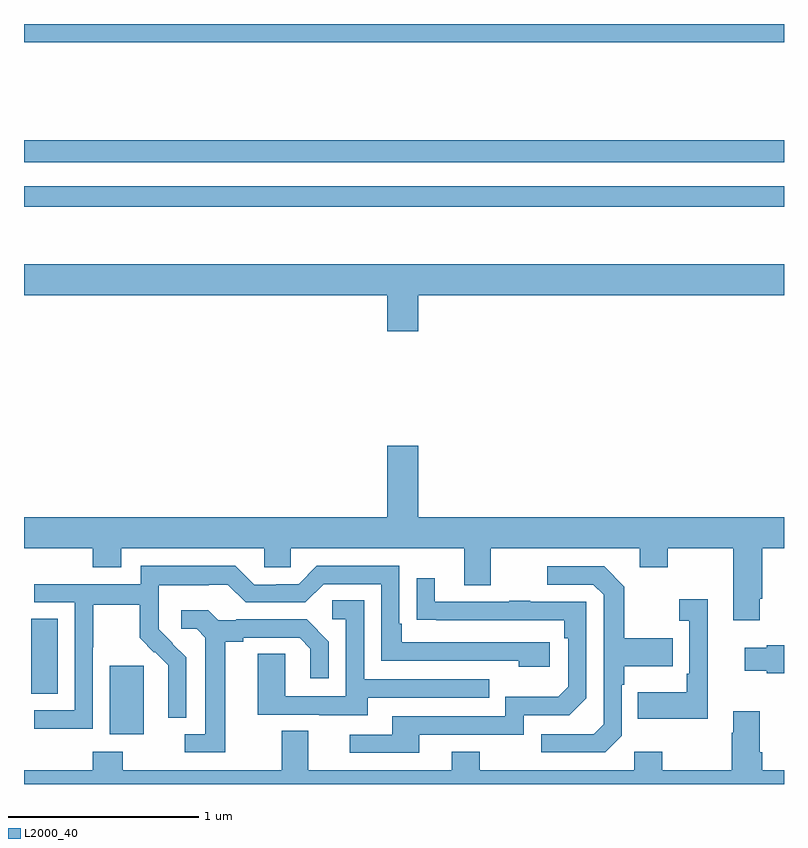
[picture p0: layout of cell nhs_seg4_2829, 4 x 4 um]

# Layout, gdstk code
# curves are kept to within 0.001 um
import gdstk
lib = gdstk.Library(unit=1e-6, precision=1e-09)
def R(c, l, rs):  # rectangles x0, y0, x1, y1
    for r in rs: c.add(gdstk.rectangle(r[:2], r[2:], *l))
def P(c, l, *ps):  # polygons
    for p in ps: c.add(gdstk.Polygon(p, *l))
L2000_40 = (2000, 40)

nhs_seg4_2829 = lib.new_cell('nhs_seg4_2829')
R(nhs_seg4_2829, L2000_40, [(259.451,809.162,259.63,809.523), (259.039,809.374,259.177,809.771), (259,811.938,263,812.046), (259,812.172,263,812.288), (259,812.804,263,812.9)])
P(nhs_seg4_2829, L2000_40, [(261.076,811.472),(263,811.472),(263,811.636),(259,811.636),(259,811.472),(260.912,811.472),(260.912,811.284),(261.076,811.284)],
  [(262.873,809.875),(262.886,809.875),(262.886,810.14),(263,810.14),(263,810.304),(261.076,810.304),(261.076,810.679),(260.912,810.679),(260.912,810.304),(259,810.304),(259,810.14),(259.361,810.14),(259.361,810.041),(259.513,810.041),(259.513,810.14),(260.265,810.14),(260.265,810.042),(260.403,810.042),(260.403,810.14),(261.317,810.14),(261.317,809.946),(261.457,809.946),(261.457,810.14),(262.241,810.14),(262.241,810.041),(262.389,810.041),(262.389,810.14),(262.733,810.14),(262.733,809.763),(262.873,809.763)],
  [(259.362,809.62),(259.365,809.62),(259.365,809.844),(259.609,809.844),(259.609,809.669),(259.686,809.592),(259.689,809.595),(259.76,809.525),(259.76,809.402),(259.758,809.402),(259.758,809.248),(259.854,809.248),(259.854,809.566),(259.708,809.714),(259.708,809.811),(259.71,809.811),(259.71,809.945),(259.973,809.945),(259.973,809.949),(260.073,809.949),(260.166,809.856),(260.481,809.856),(260.577,809.952),(260.88,809.952),(260.88,809.55),(261.605,809.55),(261.605,809.516),(261.766,809.516),(261.766,809.646),(260.989,809.646),(260.989,809.743),(260.976,809.743),(260.976,810.048),(260.541,810.048),(260.445,809.952),(260.327,809.952),(260.327,809.949),(260.211,809.949),(260.111,810.049),(259.614,810.049),(259.614,809.952),(259.053,809.952),(259.053,809.856),(259.266,809.856),(259.266,809.289),(259.053,809.289),(259.053,809.191),(259.362,809.191)],
  [(262.146,809.154),(262.146,809.423),(262.159,809.423),(262.159,809.519),(262.415,809.519),(262.415,809.667),(262.159,809.667),(262.159,809.939),(262.053,810.045),(261.753,810.045),(261.753,809.949),(261.996,809.949),(262.05,809.895),(262.05,809.214),(261.999,809.163),(261.723,809.163),(261.723,809.067),(262.059,809.067)],
  [(261.079,809.16),(261.63,809.16),(261.63,809.262),(261.87,809.262),(261.96,809.352),(261.96,809.859),(261.665,809.859),(261.665,809.864),(261.553,809.864),(261.553,809.859),(261.163,809.859),(261.163,809.983),(261.067,809.983),(261.067,809.764),(261.844,809.763),(261.844,809.666),(261.864,809.666),(261.864,809.412),(261.811,809.359),(261.534,809.359),(261.534,809.256),(260.939,809.256),(260.939,809.16),(260.715,809.16),(260.715,809.064),(261.079,809.064)],
  [(262.598,809.872),(262.449,809.872),(262.449,809.759),(262.5,809.759),(262.5,809.479),(262.488,809.479),(262.488,809.383),(262.231,809.383),(262.231,809.243),(262.598,809.243)],
  [(260.809,809.355),(261.449,809.355),(261.449,809.451),(260.79,809.451),(260.79,809.867),(260.622,809.867),(260.622,809.766),(260.694,809.766),(260.694,809.361),(260.376,809.361),(260.376,809.585),(260.231,809.585),(260.231,809.265),(260.555,809.265),(260.555,809.261),(260.809,809.261)],
  [(260.059,809.648),(260.155,809.648),(260.155,809.67),(260.45,809.67),(260.507,809.613),(260.507,809.457),(260.604,809.457),(260.604,809.65),(260.488,809.766),(260.116,809.766),(260.116,809.763),(260.022,809.763),(259.97,809.815),(259.827,809.815),(259.827,809.718),(259.908,809.718),(259.955,809.671),(259.955,809.163),(259.845,809.163),(259.845,809.067),(260.059,809.067)],
  [(263,809.63),(262.91,809.63),(262.91,809.617),(262.794,809.617),(262.794,809.495),(262.91,809.495),(262.91,809.483),(263,809.483)],
  [(263,808.972),(262.886,808.972),(262.886,809.068),(262.873,809.068),(262.873,809.284),(262.733,809.284),(262.733,809.171),(262.726,809.171),(262.726,808.972),(262.359,808.972),(262.359,809.071),(262.212,809.071),(262.212,808.972),(261.399,808.972),(261.399,809.071),(261.251,809.071),(261.251,808.972),(260.497,808.972),(260.497,809.18),(260.357,809.18),(260.357,808.972),(259.521,808.972),(259.521,809.071),(259.361,809.071),(259.361,808.972),(259,808.972),(259,808.9),(263,808.9)])

lib.write_gds('nhs_seg4_2829.gds')
